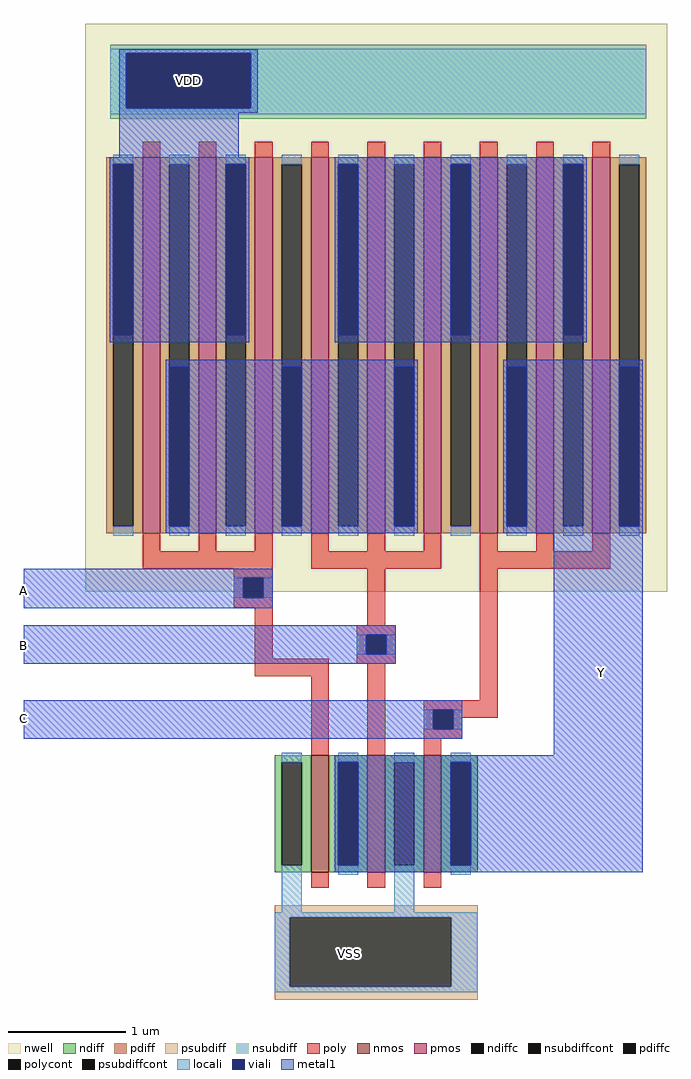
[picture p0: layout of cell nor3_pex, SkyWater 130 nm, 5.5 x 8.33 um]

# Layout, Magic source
magic
tech sky130B
magscale 1 2
<< nwell >>
rect -205 775 789 1745
<< nmos >>
rect 181 296 211 496
rect 277 296 307 496
rect 373 296 403 496
<< pmos >>
rect -107 875 -77 1517
rect -11 875 19 1517
rect 85 875 115 1517
rect 181 875 211 1517
rect 277 875 307 1517
rect 373 875 403 1517
rect 469 875 499 1517
rect 565 875 595 1517
rect 661 875 691 1517
<< ndiff >>
rect 119 484 181 496
rect 119 308 131 484
rect 165 308 181 484
rect 119 296 181 308
rect 211 484 277 496
rect 211 308 227 484
rect 261 308 277 484
rect 211 296 277 308
rect 307 484 373 496
rect 307 308 323 484
rect 357 308 373 484
rect 307 296 373 308
rect 403 484 465 496
rect 403 308 419 484
rect 453 308 465 484
rect 403 296 465 308
<< pdiff >>
rect -169 1505 -107 1517
rect -169 887 -157 1505
rect -123 887 -107 1505
rect -169 875 -107 887
rect -77 1505 -11 1517
rect -77 887 -61 1505
rect -27 887 -11 1505
rect -77 875 -11 887
rect 19 1505 85 1517
rect 19 887 35 1505
rect 69 887 85 1505
rect 19 875 85 887
rect 115 1505 181 1517
rect 115 887 131 1505
rect 165 887 181 1505
rect 115 875 181 887
rect 211 1505 277 1517
rect 211 887 227 1505
rect 261 887 277 1505
rect 211 875 277 887
rect 307 1505 373 1517
rect 307 887 323 1505
rect 357 887 373 1505
rect 307 875 373 887
rect 403 1505 469 1517
rect 403 887 419 1505
rect 453 887 469 1505
rect 403 875 469 887
rect 499 1505 565 1517
rect 499 887 515 1505
rect 549 887 565 1505
rect 499 875 565 887
rect 595 1505 661 1517
rect 595 887 611 1505
rect 645 887 661 1505
rect 595 875 661 887
rect 691 1505 753 1517
rect 691 887 707 1505
rect 741 887 753 1505
rect 691 875 753 887
<< ndiffc >>
rect 131 308 165 484
rect 227 308 261 484
rect 323 308 357 484
rect 419 308 453 484
<< pdiffc >>
rect -157 887 -123 1505
rect -61 887 -27 1505
rect 35 887 69 1505
rect 131 887 165 1505
rect 227 887 261 1505
rect 323 887 357 1505
rect 419 887 453 1505
rect 515 887 549 1505
rect 611 887 645 1505
rect 707 887 741 1505
<< psubdiff >>
rect 119 219 465 240
rect 119 101 144 219
rect 420 101 465 219
rect 119 79 465 101
<< nsubdiff >>
rect -162 1694 753 1709
rect -162 1600 -135 1694
rect 78 1600 753 1694
rect -162 1582 753 1600
<< psubdiffcont >>
rect 144 101 420 219
<< nsubdiffcont >>
rect -135 1600 78 1694
<< poly >>
rect -107 1517 -77 1543
rect -11 1517 19 1543
rect 85 1517 115 1543
rect 181 1517 211 1543
rect 277 1517 307 1543
rect 373 1517 403 1543
rect 469 1517 499 1543
rect 565 1517 595 1543
rect 661 1517 691 1543
rect -107 844 -77 875
rect -11 844 19 875
rect 85 844 115 875
rect -107 814 115 844
rect 181 844 211 875
rect 277 844 307 875
rect 373 844 403 875
rect 181 814 403 844
rect 469 844 499 875
rect 565 844 595 875
rect 661 844 691 875
rect 469 814 691 844
rect 49 799 115 814
rect 49 765 65 799
rect 99 765 115 799
rect 49 748 115 765
rect 85 661 115 748
rect 277 718 307 814
rect 259 702 325 718
rect 259 668 275 702
rect 309 668 325 702
rect 85 631 211 661
rect 259 652 325 668
rect 181 496 211 631
rect 277 496 307 652
rect 469 590 499 814
rect 373 574 499 590
rect 373 540 389 574
rect 423 560 499 574
rect 423 540 439 560
rect 373 524 439 540
rect 373 496 403 524
rect 181 270 211 296
rect 277 270 307 296
rect 373 270 403 296
<< polycont >>
rect 65 765 99 799
rect 275 668 309 702
rect 389 540 423 574
<< locali >>
rect -162 1694 753 1702
rect -162 1600 -135 1694
rect 78 1600 753 1694
rect -162 1590 753 1600
rect -157 1505 -123 1521
rect -157 871 -123 887
rect -61 1505 -27 1521
rect -61 871 -27 887
rect 35 1505 69 1521
rect 35 871 69 887
rect 131 1505 165 1521
rect 131 871 165 887
rect 227 1505 261 1521
rect 227 871 261 887
rect 323 1505 357 1521
rect 323 871 357 887
rect 419 1505 453 1521
rect 419 871 453 887
rect 515 1505 549 1521
rect 515 871 549 887
rect 611 1505 645 1521
rect 611 871 645 887
rect 707 1505 741 1521
rect 707 871 741 887
rect 49 765 65 799
rect 99 765 115 799
rect 259 668 275 702
rect 309 668 325 702
rect 373 540 389 574
rect 423 540 439 574
rect 131 484 165 500
rect 131 228 165 308
rect 227 484 261 500
rect 227 292 261 308
rect 323 484 357 500
rect 323 228 357 308
rect 419 484 453 500
rect 419 292 453 308
rect 119 219 465 228
rect 119 101 144 219
rect 420 101 465 219
rect 119 91 465 101
<< viali >>
rect -135 1600 78 1694
rect -157 1213 -123 1505
rect -61 887 -27 1159
rect 35 1213 69 1505
rect 131 887 165 1159
rect 227 1213 261 1505
rect 323 887 357 1159
rect 419 1213 453 1505
rect 515 887 549 1159
rect 611 1213 645 1505
rect 707 887 741 1159
rect 65 765 99 799
rect 275 668 309 702
rect 389 540 423 574
rect 227 308 261 484
rect 419 308 453 484
<< metal1 >>
rect -147 1694 90 1701
rect -147 1600 -135 1694
rect 78 1600 90 1694
rect -147 1593 90 1600
rect -147 1517 57 1593
rect -163 1505 75 1517
rect -163 1213 -157 1505
rect -123 1213 35 1505
rect 69 1213 75 1505
rect -163 1201 75 1213
rect 221 1505 651 1517
rect 221 1213 227 1505
rect 261 1213 419 1505
rect 453 1213 611 1505
rect 645 1213 651 1505
rect 221 1201 651 1213
rect -67 1159 363 1171
rect -67 887 -61 1159
rect -27 887 131 1159
rect 165 887 323 1159
rect 357 887 363 1159
rect -67 875 363 887
rect 509 1159 747 1171
rect 509 887 515 1159
rect 549 887 707 1159
rect 741 887 747 1159
rect 509 875 747 887
rect -310 799 115 814
rect -310 765 65 799
rect 99 765 115 799
rect -310 747 115 765
rect -310 702 325 718
rect -310 668 275 702
rect 309 668 325 702
rect -310 652 325 668
rect -310 574 439 590
rect -310 540 389 574
rect 423 540 439 574
rect -310 524 439 540
rect 595 496 747 875
rect 221 484 747 496
rect 221 308 227 484
rect 261 308 419 484
rect 453 308 747 484
rect 221 296 747 308
<< labels >>
rlabel metal1 -310 778 -310 778 7 A
port 1 w
rlabel metal1 -310 684 -310 684 7 B
port 2 w
rlabel metal1 -310 559 -310 559 3 C
port 3 e
rlabel locali 246 158 246 158 1 VSS
port 4 n
rlabel metal1 -29 1648 -29 1648 5 VDD
port 5 s
rlabel metal1 676 638 676 638 3 Y
port 6 e
<< end >>
